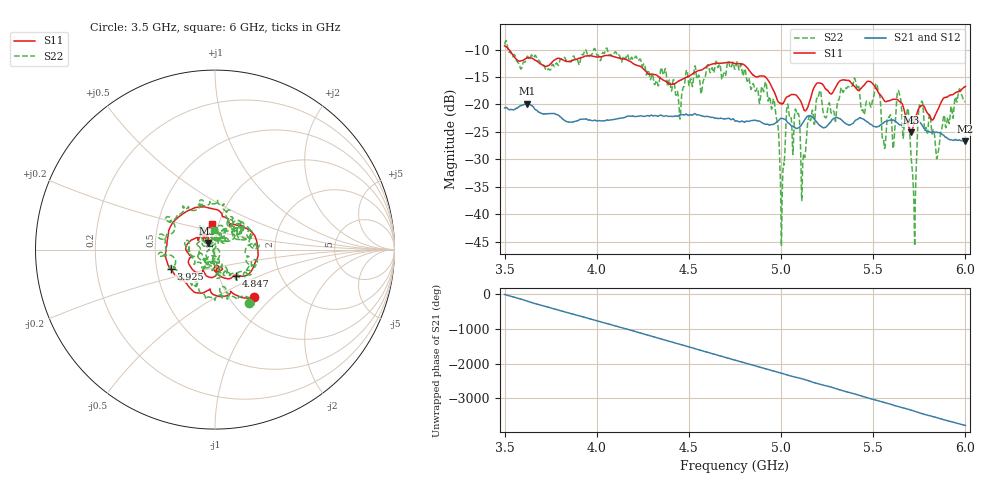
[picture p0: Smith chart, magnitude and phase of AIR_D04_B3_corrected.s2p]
! Created with skrf 1.9.0 (http://scikit-rf.org).
# Hz S RI R 50.0
!freq ReS11 ImS11 ReS21 ImS21 ReS12 ImS12 ReS22 ImS22
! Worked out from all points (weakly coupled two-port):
!   1601 points, 3.5 GHz to 6 GHz, reference 50 ohm
!   highest |S21| = -19.84 dB at 3.622 GHz (marker M1); lowest = -26.7 dB at 5.997 GHz (marker M2)
!   lowest |S11| = -25.1 dB at 5.705 GHz (marker M3), VSWR 1.12, Z = 45.9 + j3.46 ohm
!   |S11| at or under -10 dB: 3.523 GHz to end of sweep
!   |S22| runs from -45.8 to -8.4 dB; largest |S21 - S12| = 0.0014
!   S11 on the Smith chart (normalised r, x): 3.5 GHz: 1.30, -0.77; 3.925 GHz: 0.59, -0.14; 4.847 GHz: 1.21, -0.36; 6 GHz: 0.93, +0.27
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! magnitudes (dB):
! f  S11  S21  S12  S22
! 3.5 GHz  -9.3  -20.6  -20.6  -9.0
! 3.622 GHz  -11.5  -19.8  -19.8  -11.3
! 3.917 GHz  -11.5  -22.7  -22.6  -11.0
! 3.925 GHz  -11.4  -22.7  -22.6  -11.0
! 4.334 GHz  -14.9  -22.1  -22.0  -16.6
! 4.75 GHz  -12.6  -23.0  -22.9  -13.6
! 4.847 GHz  -14.6  -22.9  -22.8  -16.2
! 4.966 GHz  -17.9  -23.5  -23.4  -20.0
! 5.005 GHz  -19.8  -22.5  -22.5  -39.0
! 5.039 GHz  -18.5  -23.3  -23.3  -20.4
! 5.089 GHz  -18.6  -24.3  -24.3  -21.6
! 5.119 GHz  -20.5  -23.3  -23.2  -30.1
! 5.167 GHz  -18.0  -22.2  -22.1  -21.3
! 5.398 GHz  -16.7  -23.1  -23.1  -15.2
! 5.584 GHz  -19.4  -22.9  -22.8  -22.3
! 5.641 GHz  -19.4  -23.6  -23.5  -17.9
! 5.705 GHz  -25.1  -23.0  -22.9  -29.2
! 5.722 GHz  -23.3  -22.7  -22.6  -39.8
! 5.758 GHz  -20.3  -23.4  -23.3  -20.2
! 5.848 GHz  -21.1  -25.1  -25.0  -29.4
! 5.997 GHz  -16.8  -26.7  -26.6  -19.5
! 6 GHz  -16.7  -26.7  -26.6  -19.4
